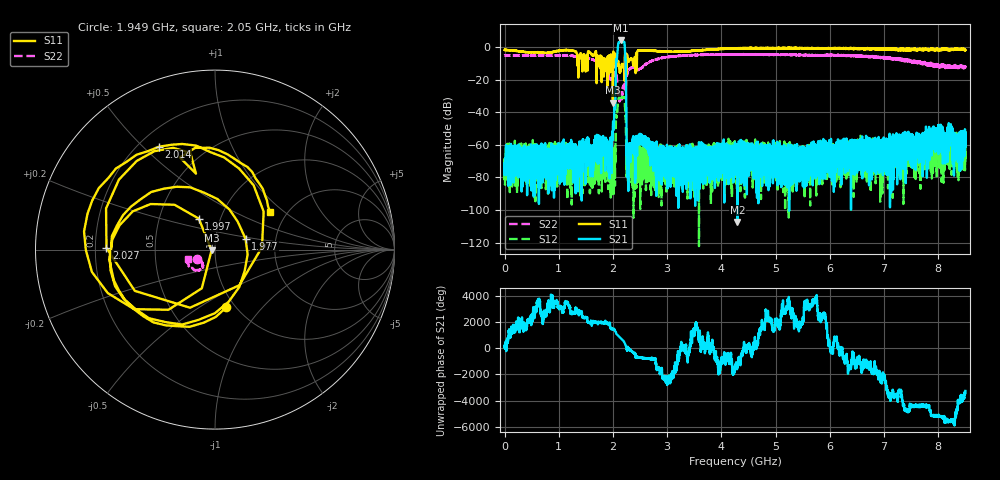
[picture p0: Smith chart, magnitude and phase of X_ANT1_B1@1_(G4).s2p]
#  HZ  S  RI  R  50.00
! Rohde & Schwarz Vector Network Analyzer
! Rohde-Schwarz,ZNBT8-20Port,1318700624101681,3.50
! Created: UTC 7/15/2025, 2:07:30 PM
! freq[Hz]  re:S1010  im:S1010  re:S0610  im:S0610  re:S1006  im:S1006  re:S66  im:S66
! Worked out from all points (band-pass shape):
!   8500 points, 1 MHz to 8.5 GHz, reference 50 ohm
!   highest |S21| = 4.16 dB at 2.144 GHz (marker M1); lowest = -107.4 dB at 4.295 GHz (marker M2)
!   |S21| within 3 dB of the highest: 2.093 GHz to 2.216 GHz (122.3 MHz wide, 5.67 % of centre)
!   lowest |S11| = -34.1 dB at 1.998 GHz (marker M3), VSWR 1.04, Z = 48.1 - j0.371 ohm
!   |S11| at or under -10 dB: 2.053 GHz to 2.083 GHz (30.61 MHz wide, 1.48 % of centre); 2.105 GHz to 2.214 GHz (109.1 MHz wide, 5.05 % of centre); 2.369 GHz to 2.383 GHz (14.48 MHz wide, 0.61 % of centre)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
!   |S22| runs from -33.3 to -4.2 dB; largest |S21 - S12| = 1.6
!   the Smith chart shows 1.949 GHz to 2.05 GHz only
!   S11 on the Smith chart (normalised r, x): 1.949 GHz: 0.91, -0.66; 1.977 GHz: 1.40, +0.18; 1.997 GHz: 0.79, +0.28; 2.014 GHz: 0.28, +0.56; 2.027 GHz: 0.25, +0.01; 2.05 GHz: 1.64, +0.80
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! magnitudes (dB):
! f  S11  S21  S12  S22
! 1 MHz  -1.7  -71.2  -73.4  -5.0
! 1.418 GHz  -5.1  -69.4  -69.6  -6.0
! 1.949 GHz  -9.7  -64.3  -72.3  -18.9
! 1.977 GHz  -14.9  -77.3  -78.0  -19.6
! 1.997 GHz  -14.2  -53.2  -72.2  -18.6
! 1.998 GHz  -34.1  -50.2  -68.8  -18.5
! 2.014 GHz  -3.7  -49.0  -90.1  -16.7
! 2.027 GHz  -4.4  -33.0  -71.6  -15.7
! 2.05 GHz  -8.6  -19.7  -54.2  -16.1
! 2.093 GHz  -8.6  1.0  -33.3  -28.9
! 2.144 GHz  -13.3  4.2  -30.3  -28.3
! 2.205 GHz  -14.2  3.2  -31.0  -22.6
! 2.293 GHz  -8.5  -69.7  -67.8  -13.7
! 2.518 GHz  -1.9  -55.1  -73.6  -13.0
! 2.834 GHz  -2.5  -68.7  -73.9  -7.1
! 4.251 GHz  -0.7  -68.9  -64.0  -4.6
! 4.295 GHz  -0.7  -107.4  -67.0  -4.3
! 5.667 GHz  -0.4  -74.9  -64.9  -4.9
! 7.084 GHz  -1.0  -61.7  -60.1  -6.7
! 8.023 GHz  -1.3  -52.4  -64.2  -11.7
! 8.126 GHz  -1.0  -61.0  -53.2  -12.0
! 8.5 GHz  -1.8  -59.5  -56.6  -11.8
